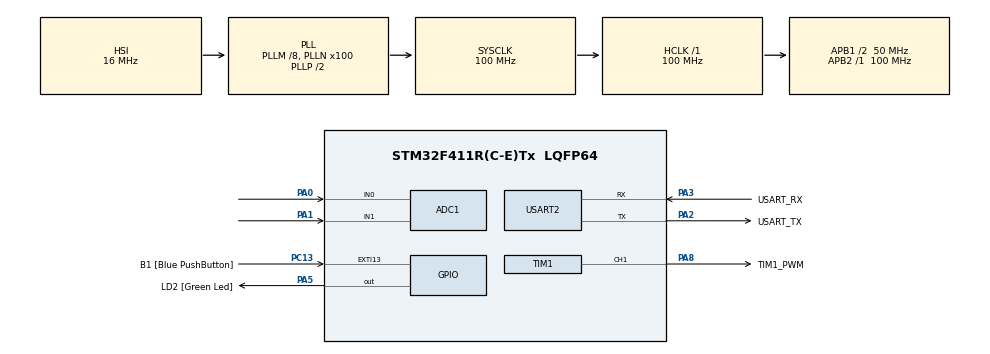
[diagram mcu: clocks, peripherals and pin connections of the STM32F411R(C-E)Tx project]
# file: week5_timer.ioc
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ADC1.Channel-0\#ChannelRegularConversion=ADC_CHANNEL_0
ADC1.ExternalTrigConv=ADC_EXTERNALTRIGCONV_T3_TRGO
ADC1.NbrOfConversionFlag=1
ADC1.Rank-0\#ChannelRegularConversion=1
ADC1.SamplingTime-0\#ChannelRegularConversion=ADC_SAMPLETIME_15CYCLES
ADC1.master=1
Mcu.Family=STM32F4
Mcu.Name=STM32F411R(C-E)Tx
Mcu.Package=LQFP64
NVIC.ADC_IRQn=true\:0\:0\:false\:false\:true\:true\:true\:true
NVIC.PriorityGroup=NVIC_PRIORITYGROUP_0
NVIC.TIM1_TRG_COM_TIM11_IRQn=true\:0\:0\:false\:false\:true\:true\:true\:true
NVIC.TIM1_UP_TIM10_IRQn=true\:0\:0\:false\:false\:true\:true\:true\:true
PA0-WKUP.Signal=ADCx_IN0
PA1.Signal=ADCx_IN1
PA13.GPIO_Label=TMS
PA13.Mode=Serial_Wire
PA13.Signal=SYS_JTMS-SWDIO
PA14.GPIO_Label=TCK
PA14.Mode=Serial_Wire
PA14.Signal=SYS_JTCK-SWCLK
PA2.GPIO_Label=USART_TX
PA2.Mode=Asynchronous
PA2.Signal=USART2_TX
PA3.GPIO_Label=USART_RX
PA3.Mode=Asynchronous
PA3.Signal=USART2_RX
PA5.GPIO_Label=LD2 [Green Led]
PA5.Signal=GPIO_Output
PA8.GPIO_Label=TIM1_PWM
PA8.Signal=S_TIM1_CH1
PB3.GPIO_Label=SWO
PB3.Signal=SYS_JTDO-SWO
PC13-ANTI_TAMP.GPIO_Label=B1 [Blue PushButton]
PC13-ANTI_TAMP.GPIO_ModeDefaultEXTI=GPIO_MODE_IT_FALLING
PC13-ANTI_TAMP.Signal=GPXTI13
PC14-OSC32_IN.Mode=LSE-External-Oscillator
PC14-OSC32_IN.Signal=RCC_OSC32_IN
PC15-OSC32_OUT.Mode=LSE-External-Oscillator
PC15-OSC32_OUT.Signal=RCC_OSC32_OUT
PH0\ -\ OSC_IN.Mode=HSE-External-Clock-Source
PH0\ -\ OSC_IN.Signal=RCC_OSC_IN
PH1\ -\ OSC_OUT.Mode=HSE-External-Clock-Source
PH1\ -\ OSC_OUT.Signal=RCC_OSC_OUT
ProjectManager.HeapSize=0x200
ProjectManager.StackSize=0x400
ProjectManager.TargetToolchain=STM32CubeIDE
RCC.48MHZClocksFreq_Value=50000000
RCC.AHBFreq_Value=100000000
RCC.APB1CLKDivider=RCC_HCLK_DIV2
RCC.APB1Freq_Value=50000000
RCC.APB1TimFreq_Value=100000000
RCC.APB2Freq_Value=100000000
RCC.APB2TimFreq_Value=100000000
RCC.CortexFreq_Value=100000000
RCC.FLatency-AdvancedSettings=FLASH_LATENCY_3
RCC.HCLKFreq_Value=100000000
RCC.HSE_VALUE=8000000
RCC.HSI_VALUE=16000000
RCC.PLLM=8
RCC.PLLN=100
RCC.SYSCLKFreq_VALUE=100000000
RCC.SYSCLKSource=RCC_SYSCLKSOURCE_PLLCLK
RCC.VCOOutputFreq_Value=200000000
SH.ADCx_IN0.0=ADC1_IN0,IN0
SH.ADCx_IN1.0=ADC1_IN1,IN1
SH.S_TIM1_CH1.0=TIM1_CH1,PWM Generation1 CH1
TIM1.AutoReloadPreload=TIM_AUTORELOAD_PRELOAD_ENABLE
TIM1.Channel-PWM\ Generation1\ CH1=TIM_CHANNEL_1
TIM1.Period=9999
TIM10.Period=999
TIM10.Prescaler=99
TIM11.Prescaler=99
TIM3.Period=9999
TIM3.Prescaler=9
TIM3.TIM_MasterOutputTrigger=TIM_TRGO_UPDATE
USART2.VirtualMode=VM_ASYNC
VP_TIM10_VS_ClockSourceINT.Mode=Enable_Timer
VP_TIM11_VS_ClockSourceINT.Mode=Enable_Timer
VP_TIM1_VS_ClockSourceINT.Mode=Internal
VP_TIM3_VS_ClockSourceINT.Mode=Internal
board=NUCLEO-F411RE

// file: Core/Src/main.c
/* USER CODE BEGIN Header */
/**
  ******************************************************************************
  * @file           : main.c
  * @brief          : Main program body
  ******************************************************************************
  * @attention
  *
  * Copyright (c) 2022 STMicroelectronics.
  * All rights reserved.
  *
  * This software is licensed under terms that can be found in the LICENSE file
  * in the root directory of this software component.
  * If no LICENSE file comes with this software, it is provided AS-IS.
  *
  ******************************************************************************
  */
/* USER CODE END Header */
#include "main.h"

ADC_HandleTypeDef hadc1;

TIM_HandleTypeDef htim1;
TIM_HandleTypeDef htim3;
TIM_HandleTypeDef htim10;
TIM_HandleTypeDef htim11;

UART_HandleTypeDef huart2;

/* USER CODE BEGIN PV */

uint8_t ADCUpdateFlag = 0;
uint16_t ADCFeedback = 0; // A0
uint16_t ADC_Target = 1200; //Analog value at 1 V

typedef struct{
	ADC_ChannelConfTypeDef Confix;
	uint16_t datt;
}ADCStruct;
ADCStruct ADCFeedx[2] = {0}; // 0 A0, 1 A1

uint16_t PWMOut = 3000; // dytycycle = x/10000 % ,TIM1

uint64_t _micro = 0;
uint64_t _millis = 0;
uint64_t TimeOutputLoop = 0; // pwm frequency update, 2kHz

uint64_t millisec = 0;
// PID parameter
int16_t Err[2] = {0}; // 0 is err, 1 is last err
int16_t Integral = 0;
float k_p = 0.1 ;
float k_i = 0.001 ;
float k_d = 0.1 ;
/* USER CODE END PV */

void SystemClock_Config(void);
static void MX_GPIO_Init(void);
static void MX_USART2_UART_Init(void);
static void MX_ADC1_Init(void);
static void MX_TIM1_Init(void);
static void MX_TIM3_Init(void);
static void MX_TIM11_Init(void);
static void MX_TIM10_Init(void);
/* USER CODE BEGIN PFP */
uint64_t micros();
uint64_t millis();
void ADCConfigINIT();
/* USER CODE END PFP */

int main(void)
{

  /* MCU Configuration--------------------------------------------------------*/

  /* Reset of all peripherals, Initializes the Flash interface and the Systick. */
  HAL_Init();

  /* Configure the system clock */
  SystemClock_Config();

  /* Initialize all configured peripherals */
  MX_GPIO_Init();
  MX_USART2_UART_Init();
  MX_ADC1_Init();
  MX_TIM1_Init();
  MX_TIM3_Init();
  MX_TIM11_Init();
  MX_TIM10_Init();
  /* USER CODE BEGIN 2 */
  ///////////////////////////////////////////////////////////
  // start ADC, TIMER
  HAL_ADC_Start_IT(&hadc1); // Start_IT = start interrupt
  HAL_TIM_Base_Start(&htim3);

  // timer, OC gen PWM
  HAL_TIM_Base_Start(&htim1);
  HAL_TIM_PWM_Start(&htim1, TIM_CHANNEL_1);

  //timer for micros()
  HAL_TIM_Base_Start_IT(&htim11);
  HAL_TIM_Base_Start_IT(&htim10);
  //ADCConfigINIT();// multichannel ADC

  /* USER CODE END 2 */

  /* Infinite loop */
  while (1)
  {

    /* USER CODE BEGIN 3 */

	  //ADCReadUpdate();

	  	  millisec = millis();
	  //2KHz loop use timer
	  if(micros() - TimeOutputLoop > 500){
		  TimeOutputLoop = micros(); // stamp
		  __HAL_TIM_SET_COMPARE(&htim1, TIM_CHANNEL_1, PWMOut);
		  //ADC_Target = ADCFeedx[1].datt;
	  }
	  // control PWM to get 1V=> 1023 ADu
	  if(ADCUpdateFlag){
		  // any task when update flag = 1
		  // PID
		  Err[0] = ADC_Target - ADCFeedback;

		  PWMOut = PWMOut + (k_p * Err [0]) + (k_i * Integral) + (k_d *(Err[1]-Err[0]) );

		  // saturation
		  if(PWMOut >= 10000){
			  PWMOut = 10000;
		  }
		  else if(PWMOut <= 0){
			  PWMOut = 0;
		  }
		  else{
			  Integral += Err[0];
		  }
		  Err[1] = Err[0];

		  ADCUpdateFlag = 0; //end task
	  	 }

  }
  /* USER CODE END 3 */
}

void SystemClock_Config(void)
{
  RCC_OscInitTypeDef RCC_OscInitStruct = {0};
  RCC_ClkInitTypeDef RCC_ClkInitStruct = {0};

  /** Configure the main internal regulator output voltage
  */
  __HAL_RCC_PWR_CLK_ENABLE();
  __HAL_PWR_VOLTAGESCALING_CONFIG(PWR_REGULATOR_VOLTAGE_SCALE1);
  /** Initializes the RCC Oscillators according to the specified parameters
  * in the RCC_OscInitTypeDef structure.
  */
  RCC_OscInitStruct.OscillatorType = RCC_OSCILLATORTYPE_HSI;
  RCC_OscInitStruct.HSIState = RCC_HSI_ON;
  RCC_OscInitStruct.HSICalibrationValue = RCC_HSICALIBRATION_DEFAULT;
  RCC_OscInitStruct.PLL.PLLState = RCC_PLL_ON;
  RCC_OscInitStruct.PLL.PLLSource = RCC_PLLSOURCE_HSI;
  RCC_OscInitStruct.PLL.PLLM = 8;
  RCC_OscInitStruct.PLL.PLLN = 100;
  RCC_OscInitStruct.PLL.PLLP = RCC_PLLP_DIV2;
  RCC_OscInitStruct.PLL.PLLQ = 4;
  if (HAL_RCC_OscConfig(&RCC_OscInitStruct) != HAL_OK)
  {
    Error_Handler();
  }
  /** Initializes the CPU, AHB and APB buses clocks
  */
  RCC_ClkInitStruct.ClockType = RCC_CLOCKTYPE_HCLK|RCC_CLOCKTYPE_SYSCLK
                              |RCC_CLOCKTYPE_PCLK1|RCC_CLOCKTYPE_PCLK2;
  RCC_ClkInitStruct.SYSCLKSource = RCC_SYSCLKSOURCE_PLLCLK;
  RCC_ClkInitStruct.AHBCLKDivider = RCC_SYSCLK_DIV1;
  RCC_ClkInitStruct.APB1CLKDivider = RCC_HCLK_DIV2;
  RCC_ClkInitStruct.APB2CLKDivider = RCC_HCLK_DIV1;

  if (HAL_RCC_ClockConfig(&RCC_ClkInitStruct, FLASH_LATENCY_3) != HAL_OK)
  {
    Error_Handler();
  }
}

static void MX_ADC1_Init(void)
{

  ADC_ChannelConfTypeDef sConfig = {0};

  /** Configure the global features of the ADC (Clock, Resolution, Data Alignment and number of conversion)
  */
  hadc1.Instance = ADC1;
  hadc1.Init.ClockPrescaler = ADC_CLOCK_SYNC_PCLK_DIV4;
  hadc1.Init.Resolution = ADC_RESOLUTION_12B;
  hadc1.Init.ScanConvMode = DISABLE;
  hadc1.Init.ContinuousConvMode = DISABLE;
  hadc1.Init.DiscontinuousConvMode = DISABLE;
  hadc1.Init.ExternalTrigConvEdge = ADC_EXTERNALTRIGCONVEDGE_RISING;
  hadc1.Init.ExternalTrigConv = ADC_EXTERNALTRIGCONV_T3_TRGO;
  hadc1.Init.DataAlign = ADC_DATAALIGN_RIGHT;
  hadc1.Init.NbrOfConversion = 1;
  hadc1.Init.DMAContinuousRequests = DISABLE;
  hadc1.Init.EOCSelection = ADC_EOC_SINGLE_CONV;
  if (HAL_ADC_Init(&hadc1) != HAL_OK)
  {
    Error_Handler();
  }
  /** Configure for the selected ADC regular channel its corresponding rank in the sequencer and its sample time.
  */
  sConfig.Channel = ADC_CHANNEL_0;
  sConfig.Rank = 1;
  sConfig.SamplingTime = ADC_SAMPLETIME_15CYCLES;
  if (HAL_ADC_ConfigChannel(&hadc1, &sConfig) != HAL_OK)
  {
    Error_Handler();
  }

}

static void MX_TIM1_Init(void)
{

  TIM_ClockConfigTypeDef sClockSourceConfig = {0};
  TIM_MasterConfigTypeDef sMasterConfig = {0};
  TIM_OC_InitTypeDef sConfigOC = {0};
  TIM_BreakDeadTimeConfigTypeDef sBreakDeadTimeConfig = {0};

  htim1.Instance = TIM1;
  htim1.Init.Prescaler = 0;
  htim1.Init.CounterMode = TIM_COUNTERMODE_UP;
  htim1.Init.Period = 9999;
  htim1.Init.ClockDivision = TIM_CLOCKDIVISION_DIV1;
  htim1.Init.RepetitionCounter = 0;
  htim1.Init.AutoReloadPreload = TIM_AUTORELOAD_PRELOAD_ENABLE;
  if (HAL_TIM_Base_Init(&htim1) != HAL_OK)
  {
    Error_Handler();
  }
  sClockSourceConfig.ClockSource = TIM_CLOCKSOURCE_INTERNAL;
  if (HAL_TIM_ConfigClockSource(&htim1, &sClockSourceConfig) != HAL_OK)
  {
    Error_Handler();
  }
  if (HAL_TIM_PWM_Init(&htim1) != HAL_OK)
  {
    Error_Handler();
  }
  sMasterConfig.MasterOutputTrigger = TIM_TRGO_RESET;
  sMasterConfig.MasterSlaveMode = TIM_MASTERSLAVEMODE_DISABLE;
  if (HAL_TIMEx_MasterConfigSynchronization(&htim1, &sMasterConfig) != HAL_OK)
  {
    Error_Handler();
  }
  sConfigOC.OCMode = TIM_OCMODE_PWM1;
  sConfigOC.Pulse = 0;
  sConfigOC.OCPolarity = TIM_OCPOLARITY_HIGH;
  sConfigOC.OCNPolarity = TIM_OCNPOLARITY_HIGH;
  sConfigOC.OCFastMode = TIM_OCFAST_DISABLE;
  sConfigOC.OCIdleState = TIM_OCIDLESTATE_RESET;
  sConfigOC.OCNIdleState = TIM_OCNIDLESTATE_RESET;
  if (HAL_TIM_PWM_ConfigChannel(&htim1, &sConfigOC, TIM_CHANNEL_1) != HAL_OK)
  {
    Error_Handler();
  }
  sBreakDeadTimeConfig.OffStateRunMode = TIM_OSSR_DISABLE;
  sBreakDeadTimeConfig.OffStateIDLEMode = TIM_OSSI_DISABLE;
  sBreakDeadTimeConfig.LockLevel = TIM_LOCKLEVEL_OFF;
  sBreakDeadTimeConfig.DeadTime = 0;
  sBreakDeadTimeConfig.BreakState = TIM_BREAK_DISABLE;
  sBreakDeadTimeConfig.BreakPolarity = TIM_BREAKPOLARITY_HIGH;
  sBreakDeadTimeConfig.AutomaticOutput = TIM_AUTOMATICOUTPUT_DISABLE;
  if (HAL_TIMEx_ConfigBreakDeadTime(&htim1, &sBreakDeadTimeConfig) != HAL_OK)
  {
    Error_Handler();
  }
  HAL_TIM_MspPostInit(&htim1);

}

static void MX_TIM3_Init(void)
{

  TIM_ClockConfigTypeDef sClockSourceConfig = {0};
  TIM_MasterConfigTypeDef sMasterConfig = {0};

  htim3.Instance = TIM3;
  htim3.Init.Prescaler = 9;
  htim3.Init.CounterMode = TIM_COUNTERMODE_UP;
  htim3.Init.Period = 9999;
  htim3.Init.ClockDivision = TIM_CLOCKDIVISION_DIV1;
  htim3.Init.AutoReloadPreload = TIM_AUTORELOAD_PRELOAD_DISABLE;
  if (HAL_TIM_Base_Init(&htim3) != HAL_OK)
  {
    Error_Handler();
  }
  sClockSourceConfig.ClockSource = TIM_CLOCKSOURCE_INTERNAL;
  if (HAL_TIM_ConfigClockSource(&htim3, &sClockSourceConfig) != HAL_OK)
  {
    Error_Handler();
  }
  sMasterConfig.MasterOutputTrigger = TIM_TRGO_UPDATE;
  sMasterConfig.MasterSlaveMode = TIM_MASTERSLAVEMODE_DISABLE;
  if (HAL_TIMEx_MasterConfigSynchronization(&htim3, &sMasterConfig) != HAL_OK)
  {
    Error_Handler();
  }

}

static void MX_TIM10_Init(void)
{

  htim10.Instance = TIM10;
  htim10.Init.Prescaler = 99;
  htim10.Init.CounterMode = TIM_COUNTERMODE_UP;
  htim10.Init.Period = 999;
  htim10.Init.ClockDivision = TIM_CLOCKDIVISION_DIV1;
  htim10.Init.AutoReloadPreload = TIM_AUTORELOAD_PRELOAD_DISABLE;
  if (HAL_TIM_Base_Init(&htim10) != HAL_OK)
  {
    Error_Handler();
  }

}

static void MX_TIM11_Init(void)
{

  htim11.Instance = TIM11;
  htim11.Init.Prescaler = 99;
  htim11.Init.CounterMode = TIM_COUNTERMODE_UP;
  htim11.Init.Period = 65535;
  htim11.Init.ClockDivision = TIM_CLOCKDIVISION_DIV1;
  htim11.Init.AutoReloadPreload = TIM_AUTORELOAD_PRELOAD_DISABLE;
  if (HAL_TIM_Base_Init(&htim11) != HAL_OK)
  {
    Error_Handler();
  }

}

static void MX_USART2_UART_Init(void)
{

  huart2.Instance = USART2;
  huart2.Init.BaudRate = 115200;
  huart2.Init.WordLength = UART_WORDLENGTH_8B;
  huart2.Init.StopBits = UART_STOPBITS_1;
  huart2.Init.Parity = UART_PARITY_NONE;
  huart2.Init.Mode = UART_MODE_TX_RX;
  huart2.Init.HwFlowCtl = UART_HWCONTROL_NONE;
  huart2.Init.OverSampling = UART_OVERSAMPLING_16;
  if (HAL_UART_Init(&huart2) != HAL_OK)
  {
    Error_Handler();
  }

}

static void MX_GPIO_Init(void)
{
  GPIO_InitTypeDef GPIO_InitStruct = {0};

  /* GPIO Ports Clock Enable */
  __HAL_RCC_GPIOC_CLK_ENABLE();
  __HAL_RCC_GPIOH_CLK_ENABLE();
  __HAL_RCC_GPIOA_CLK_ENABLE();
  __HAL_RCC_GPIOB_CLK_ENABLE();

  /*Configure GPIO pin Output Level */
  HAL_GPIO_WritePin(LD2_GPIO_Port, LD2_Pin, GPIO_PIN_RESET);

  /*Configure GPIO pin : B1_Pin */
  GPIO_InitStruct.Pin = B1_Pin;
  GPIO_InitStruct.Mode = GPIO_MODE_IT_FALLING;
  GPIO_InitStruct.Pull = GPIO_NOPULL;
  HAL_GPIO_Init(B1_GPIO_Port, &GPIO_InitStruct);

  /*Configure GPIO pin : LD2_Pin */
  GPIO_InitStruct.Pin = LD2_Pin;
  GPIO_InitStruct.Mode = GPIO_MODE_OUTPUT_PP;
  GPIO_InitStruct.Pull = GPIO_NOPULL;
  GPIO_InitStruct.Speed = GPIO_SPEED_FREQ_LOW;
  HAL_GPIO_Init(LD2_GPIO_Port, &GPIO_InitStruct);

}

/* USER CODE BEGIN 4 */
/*
void ADCConfigINIT(){
	// init style at struct ADCStructure
	// Config PA0
	//ADCFeedx[0].Confix.Channel = ADC_CHANNEL_0;
	//ADCFeedx[0].Confix.Rank = 1;
	//ADCFeedx[0].Confix.SamplingTime = ADC_SAMPLETIME_15CYCLES;
	// Config PA1
	ADCFeedx[1].Confix.Channel = ADC_CHANNEL_1;
	ADCFeedx[1].Confix.Rank = 1;
	ADCFeedx[1].Confix.SamplingTime = ADC_SAMPLETIME_15CYCLES;
	// Config Temp (internal)
}

void ADCReadUpdate()
{
	for(int i=1;i<2;i++){
	// Setting channel
	HAL_ADC_ConfigChannel(&hadc1, &ADCFeedx[i].Confix);
	//start ADC sampling
	HAL_ADC_Start(&hadc1);
	//wait for sampling-> conversion , check if error timeout
	if(HAL_ADC_PollForConversion(&hadc1, 10)==HAL_OK) //10mSec timeout
	{
		//ReadData to confix channel
		ADCFeedx[i].datt = HAL_ADC_GetValue(&hadc1);
	}
	//stop ADC sampling
	HAL_ADC_Stop(&hadc1);
	}
}
*/
void HAL_ADC_ConvCpltCallback(ADC_HandleTypeDef* hadc) // feedback new ADC every 1K
{
	ADCFeedback = HAL_ADC_GetValue(&hadc1);
	ADCUpdateFlag = 1;
}

void HAL_TIM_PeriodElapsedCallback(TIM_HandleTypeDef *htim)
{
	if(htim == &htim11){
		_micro += 65535;
	}
	if(htim == &htim10){
		_millis++;
	}
}

uint64_t micros() {
	return _micro + htim11.Instance->CNT;
}
uint64_t millis() {
	return _millis;// + htim10.Instance->CNT
}
/* USER CODE END 4 */

void Error_Handler(void)
{
  __disable_irq();
  while (1)
  {
  }
}
